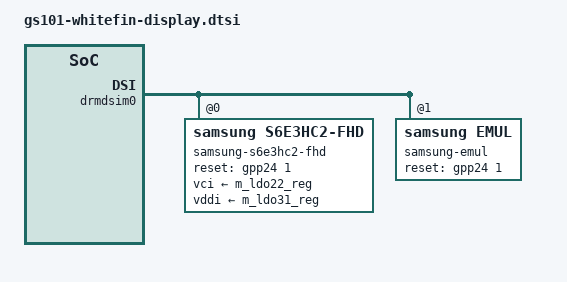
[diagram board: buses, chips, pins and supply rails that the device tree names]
// SPDX-License-Identifier: GPL-2.0-only
/*
 * Google GS101 Whitefin-specific display device tree source
 *
 * Copyright (c) 2020 Google, LLC
 *
 */

#include <dt-bindings/gpio/gpio.h>

&drmdsim0 {
	status = "ok";
	#address-cells = <1>;
	#size-cells = <0>;

	panel@0 {
		compatible = "samsung,s6e3hc2-fhd";
		label = "samsung-s6e3hc2-fhd";
		channel = <0>;
		touch = <&spitouch>;

		/* reset, power */
		reset-gpios = <&gpp24 1 GPIO_ACTIVE_HIGH>;
		vci-supply = <&m_ldo22_reg>;
		vddi-supply = <&m_ldo31_reg>;
	};

	panel@1 {
		compatible = "samsung,emul";
		label = "samsung-emul";
		channel = <0>;

		/* reset, power */
		reset-gpios = <&gpp24 1 GPIO_ACTIVE_HIGH>;
	};
};

&drmdsim1 {
	status = "disabled";
};

&m_ldo31_reg {
	regulator-always-on;
};
